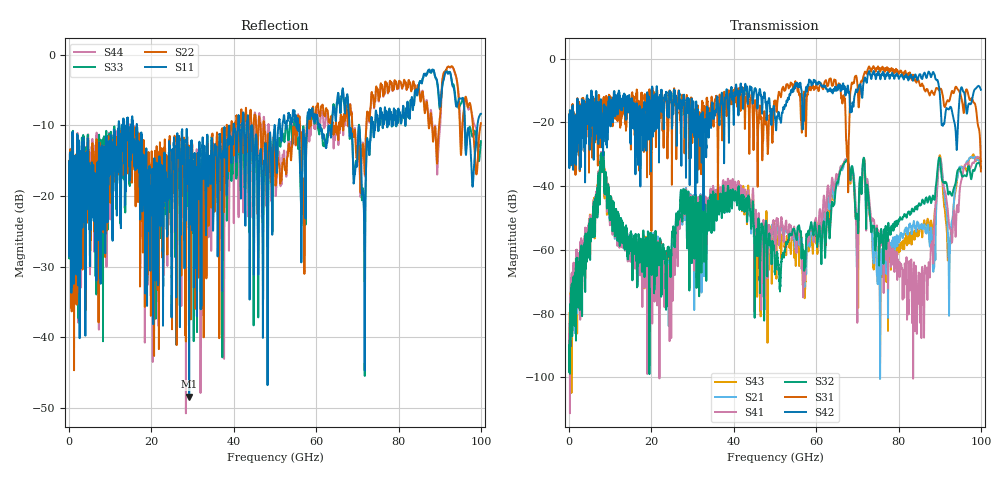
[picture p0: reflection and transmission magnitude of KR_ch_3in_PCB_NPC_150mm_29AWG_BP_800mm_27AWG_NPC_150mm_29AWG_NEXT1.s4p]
# GHz S RI R 45
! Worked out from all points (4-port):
!   4000 points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, 25 MHz to 100 GHz, reference 45 ohm
!   strongest paths, dB at 25 MHz, 25.02 GHz, 50.02 GHz, 75.03 GHz, 100 GHz:
!     S42: -22.2, -20.8, -18.7, -4.1, -9.8
!     S31: -22.1, -21.8, -13.4, -2.4, -35.4
!     S32: -89.9, -55.8, -67.7, -55.3, -34.2
!     S41: -88.5, -65.6, -58.6, -54.4, -31.9
!     S21: -89.7, -60.5, -58.1, -68.7, -32.8
!     S43: -91.7, -59.5, -59.5, -68.0, -32.3
!   lowest |S11| = -48.4 dB at 29.18 GHz (marker M1), VSWR 1.01, Z = 44.8 + j0.258 ohm
!   |S11| at or under -10 dB: start of sweep to 12.08 GHz; 16.48 GHz to 39.96 GHz (23.48 GHz wide, 83.2 % of centre); 44.45 GHz to 49.91 GHz (5.458 GHz wide, 11.6 % of centre) (the widest 3 of 40)
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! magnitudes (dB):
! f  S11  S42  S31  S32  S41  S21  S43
! 25 MHz  -17.4  -22.2  -22.1  -89.9  -88.5  -89.7  -91.7
! 8.025 GHz  -15.7  -27.9  -17.6  -31.3  -31.1  -31.6  -30.9
! 29.18 GHz  -48.4  -16.4  -31.4  -55.5  -48.7  -52.2  -50.3
! 57.12 GHz  -11.9  -13.5  -10.8  -66.4  -68.9  -70.5  -69.0
! 67.33 GHz  -6.2  -9.6  -25.6  -31.9  -31.5  -31.7  -31.6
! 84.8 GHz  -5.0  -5.8  -6.7  -46.2  -70.1  -51.6  -54.9
! 100 GHz  -8.4  -9.8  -35.4  -34.2  -31.9  -32.8  -32.3
